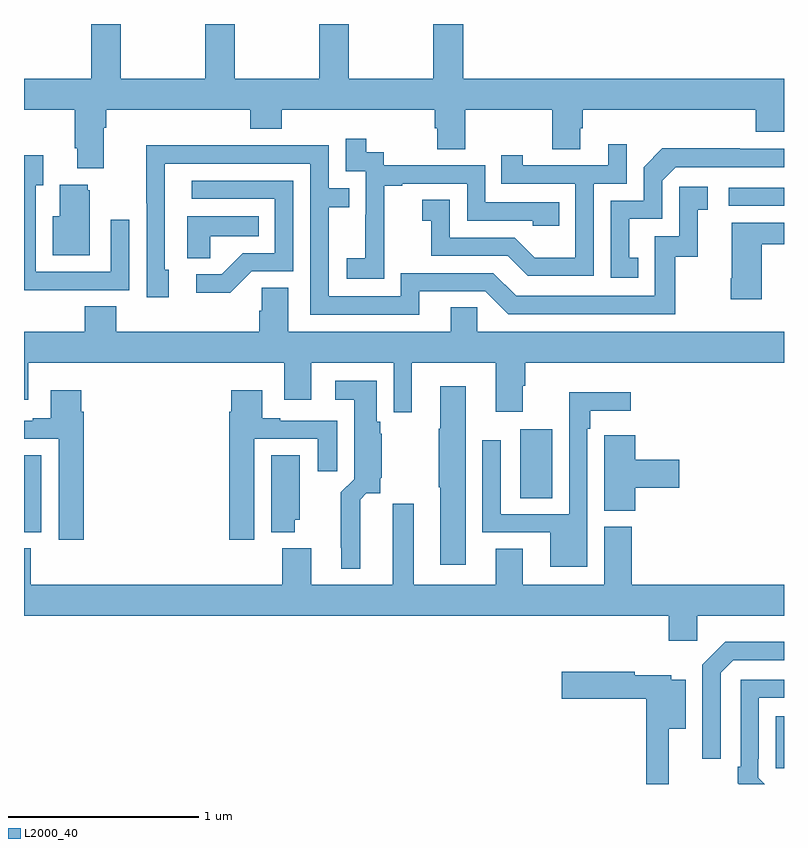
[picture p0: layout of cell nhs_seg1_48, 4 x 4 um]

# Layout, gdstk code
import gdstk
lib = gdstk.Library(unit=1e-6, precision=1e-09)
def R(c, l, rs):  # rectangles x0, y0, x1, y1
    for r in rs: c.add(gdstk.rectangle(r[:2], r[2:], *l))
def P(c, l, *ps):  # polygons
    for p in ps: c.add(gdstk.Polygon(p, *l))
L2000_40 = (2000, 40)

nhs_seg1_48 = lib.new_cell('nhs_seg1_48')
R(nhs_seg1_48, L2000_40, [(116.957,532.281,117,532.555), (113,533.525,113.092,533.93), (115.613,533.704,115.78,534.067), (116.709,535.242,117,535.338)])
P(nhs_seg1_48, L2000_40, [(113.419,535.652),(113.432,535.652),(113.432,535.748),(114.191,535.748),(114.191,535.649),(114.356,535.649),(114.356,535.748),(115.163,535.748),(115.163,535.65),(115.175,535.65),(115.175,535.54),(115.323,535.54),(115.323,535.748),(115.78,535.748),(115.78,535.54),(115.927,535.54),(115.927,535.65),(115.94,535.65),(115.94,535.748),(116.852,535.748),(116.852,535.631),(117,535.631),(117,535.912),(115.313,535.912),(115.313,536.199),(115.153,536.199),(115.153,535.912),(114.708,535.912),(114.708,536.199),(114.553,536.199),(114.553,535.912),(114.108,535.912),(114.108,536.199),(113.953,536.199),(113.953,535.912),(113.508,535.912),(113.508,536.199),(113.353,536.199),(113.353,535.912),(113,535.912),(113,535.748),(113.267,535.748),(113.267,535.546),(113.279,535.546),(113.279,535.439),(113.419,535.439)],
  [(114.897,535.063),(114.896,535.063),(114.896,535.347),(114.991,535.347),(114.991,535.359),(115.332,535.359),(115.332,535.164),(115.677,535.164),(115.677,535.137),(115.817,535.137),(115.817,535.26),(115.428,535.26),(115.428,535.455),(114.894,535.455),(114.894,535.524),(114.802,535.524),(114.802,535.594),(114.693,535.594),(114.693,535.425),(114.798,535.425),(114.798,535.196),(114.797,535.196),(114.797,534.967),(114.699,534.967),(114.699,534.857),(114.897,534.857)],
  [(115.998,535.359),(116.172,535.359),(116.172,535.567),(116.075,535.567),(116.075,535.455),(115.624,535.455),(115.624,535.507),(115.513,535.507),(115.513,535.359),(115.902,535.359),(115.902,534.97),(115.688,534.97),(115.584,535.074),(115.242,535.074),(115.242,535.273),(115.095,535.273),(115.095,535.163),(115.144,535.163),(115.144,534.978),(115.547,534.978),(115.652,534.873),(115.998,534.873)],
  [(115.081,534.792),(115.428,534.792),(115.548,534.672),(116.428,534.672),(116.428,534.975),(116.546,534.975),(116.546,535.221),(116.599,535.221),(116.599,535.342),(116.448,535.342),(116.448,535.083),(116.319,535.083),(116.319,534.768),(115.59,534.768),(115.47,534.888),(114.984,534.888),(114.984,534.765),(114.603,534.765),(114.603,535.234),(114.713,535.234),(114.713,535.335),(114.603,535.335),(114.603,535.56),(114.107,535.56),(114.107,535.562),(113.644,535.562),(113.644,535.255),(113.646,535.255),(113.646,534.762),(113.761,534.762),(113.761,534.906),(113.742,534.906),(113.742,535.464),(114.507,535.464),(114.507,534.669),(115.081,534.669)],
  [(116.234,534.969),(116.185,534.969),(116.185,535.173),(116.358,535.173),(116.358,535.374),(116.43,535.446),(117,535.446),(117,535.542),(116.768,535.542),(116.768,535.544),(116.36,535.544),(116.262,535.446),(116.262,535.269),(116.088,535.269),(116.088,534.864),(116.234,534.864)],
  [(113.237,534.798),(113.553,534.798),(113.553,535.168),(113.457,535.168),(113.457,534.894),(113.061,534.894),(113.061,535.351),(113.101,535.351),(113.101,535.507),(113,535.507),(113,534.797),(113.237,534.797)],
  [(114.198,534.897),(114.417,534.897),(114.417,535.374),(113.883,535.374),(113.883,535.278),(114.321,535.278),(114.321,534.993),(114.152,534.993),(114.041,534.882),(113.907,534.882),(113.907,534.785),(114.085,534.785)],
  [(113.347,535.323),(113.336,535.323),(113.336,535.354),(113.189,535.354),(113.189,535.186),(113.15,535.186),(113.15,534.983),(113.347,534.983)],
  [(113.979,535.082),(114.236,535.082),(114.236,535.186),(113.858,535.186),(113.858,534.967),(113.979,534.967)],
  [(116.884,535.039),(117,535.039),(117,535.153),(116.726,535.153),(116.726,534.862),(116.719,534.862),(116.719,534.75),(116.884,534.75)],
  [(115.042,534.416),(115.484,534.416),(115.484,534.159),(115.624,534.159),(115.624,534.296),(115.637,534.296),(115.637,534.416),(117,534.416),(117,534.58),(115.386,534.58),(115.386,534.707),(115.247,534.707),(115.247,534.58),(114.391,534.58),(114.391,534.812),(114.252,534.812),(114.252,534.689),(114.239,534.689),(114.239,534.58),(113.486,534.58),(113.486,534.713),(113.321,534.713),(113.321,534.58),(113,534.58),(113,534.222),(113.023,534.222),(113.023,534.416),(114.371,534.416),(114.371,534.222),(114.511,534.222),(114.511,534.416),(114.945,534.416),(114.945,534.156),(115.042,534.156)],
  [(114.769,533.696),(114.801,533.729),(114.876,533.729),(114.876,533.805),(114.882,533.811),(114.882,534.042),(114.876,534.042),(114.876,534.105),(114.856,534.105),(114.856,534.322),(114.639,534.322),(114.639,534.221),(114.737,534.221),(114.737,533.804),(114.667,533.734),(114.667,533.443),(114.671,533.443),(114.671,533.333),(114.769,533.333)],
  [(115.324,534.292),(115.19,534.292),(115.19,534.068),(115.183,534.068),(115.183,533.761),(115.19,533.761),(115.19,533.352),(115.324,533.352)],
  [(113.315,534.158),(113.302,534.158),(113.302,534.271),(113.141,534.271),(113.141,534.124),(113.045,534.124),(113.045,534.111),(113,534.111),(113,534.015),(113.183,534.015),(113.183,533.484),(113.315,533.484)],
  [(114.211,534.015),(114.545,534.015),(114.545,533.844),(114.649,533.844),(114.649,534.111),(114.349,534.111),(114.349,534.124),(114.253,534.124),(114.253,534.271),(114.092,534.271),(114.092,534.158),(114.08,534.158),(114.08,533.484),(114.211,533.484)],
  [(115.965,534.068),(115.981,534.068),(115.981,534.164),(116.194,534.164),(116.194,534.262),(115.869,534.262),(115.869,533.619),(115.509,533.619),(115.509,534.007),(115.413,534.007),(115.413,533.523),(115.769,533.523),(115.769,533.342),(115.965,533.342)],
  [(116.216,533.759),(116.449,533.759),(116.449,533.906),(116.216,533.906),(116.216,534.034),(116.055,534.034),(116.055,533.921),(116.054,533.921),(116.054,533.638),(116.216,533.638)],
  [(114.424,533.589),(114.451,533.589),(114.451,533.93),(114.302,533.93),(114.302,533.525),(114.424,533.525)],
  [(116.544,533.084),(117,533.084),(117,533.248),(116.198,533.248),(116.198,533.553),(116.054,533.553),(116.054,533.248),(115.624,533.248),(115.624,533.438),(115.484,533.438),(115.484,533.248),(115.051,533.248),(115.051,533.674),(114.941,533.674),(114.941,533.248),(114.511,533.248),(114.511,533.44),(114.359,533.44),(114.359,533.248),(113.036,533.248),(113.036,533.44),(113,533.44),(113,533.084),(116.393,533.084),(116.393,532.953),(116.544,532.953)],
  [(116.667,532.785),(116.733,532.851),(117,532.851),(117,532.948),(116.692,532.948),(116.571,532.827),(116.571,532.332),(116.667,532.332)],
  [(116.393,532.49),(116.482,532.49),(116.482,532.747),(116.406,532.747),(116.406,532.771),(116.214,532.771),(116.214,532.791),(115.83,532.791),(115.83,532.649),(116.275,532.649),(116.275,532.199),(116.393,532.199)],
  [(116.865,532.233),(116.865,532.333),(116.868,532.333),(116.868,532.653),(117,532.653),(117,532.749),(116.772,532.749),(116.772,532.291),(116.757,532.291),(116.757,532.203),(116.761,532.199),(116.899,532.199)])

lib.write_gds('nhs_seg1_48.gds')
